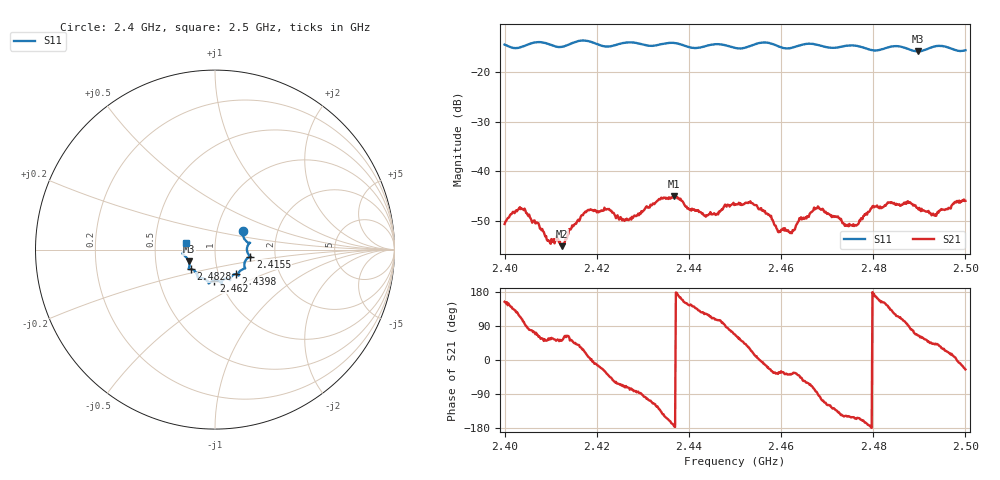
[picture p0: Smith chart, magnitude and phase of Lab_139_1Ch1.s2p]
# Hz S RI R 50
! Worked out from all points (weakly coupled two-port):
!   601 points, 2.4 GHz to 2.5 GHz, reference 50 ohm
!   highest |S21| = -45.09 dB at 2.4368 GHz (marker M1); lowest = -55.1 dB at 2.4125 GHz (marker M2)
!   lowest |S11| = -15.9 dB at 2.4897 GHz (marker M3), VSWR 1.38, Z = 36.9 - j4.86 ohm
!   |S11| at or under -10 dB: start of sweep to end of sweep
!   S12 and S22 are empty: the file has one direction only
!   S11 on the Smith chart (normalised r, x): 2.4 GHz: 1.33, +0.29; 2.4155 GHz: 1.49, -0.12; 2.4398 GHz: 1.21, -0.34; 2.462 GHz: 0.93, -0.33; 2.4828 GHz: 0.74, -0.17; 2.5 GHz: 0.72, +0.06
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2.4e9  0.1552 0.1061  -0.00263 0.0013  0 0  0 0
2.403833e9  0.1724 0.0484  -0.00121 0.00398  0 0  0 0
2.4095e9  0.1881 0.0312  0.0011 0.00169  0 0  0 0
2.4125e9  0.1785 -0.00717  0.00107 0.0014  0 0  0 0
2.4155e9  0.1974 -0.0394  0.00219 0.00197  0 0  0 0
2.416667e9  0.2023 -0.0424  0.00303 0.0019  0 0  0 0
2.422167e9  0.1674 -0.0662  0.00333 -0.00245  0 0  0 0
2.4265e9  0.1684 -0.1033  0.00102 -0.00316  0 0  0 0
2.433333e9  0.1299 -0.1343  -0.00301 -0.00411  0 0  0 0
2.436833e9  0.1315 -0.1442  -0.00555 -0.000422  0 0  0 0
2.439833e9  0.115 -0.1362  -0.0035 0.00236  0 0  0 0
2.443667e9  0.0855 -0.1605  -0.00185 0.00295  0 0  0 0
2.45e9  0.0651 -0.1617  0.00179 0.00431  0 0  0 0
2.453667e9  0.0363 -0.1816  0.0044 0.00185  0 0  0 0
2.462e9  -0.00536 -0.1732  0.0019 -0.00143  0 0  0 0
2.466667e9  -0.035 -0.1882  0.00142 -0.00362  0 0  0 0
2.476e9  -0.095 -0.1575  -0.00259 -0.00125  0 0  0 0
2.482833e9  -0.1358 -0.1088  -0.00381 0.00263  0 0  0 0
2.483333e9  -0.1397 -0.1085  -0.00361 0.00321  0 0  0 0
2.489667e9  -0.1471 -0.0642  0.00181 0.00386  0 0  0 0
2.493167e9  -0.1777 -0.0263  0.00265 0.00245  0 0  0 0
2.5e9  -0.1601 0.0394  0.00456 -0.00211  0 0  0 0
